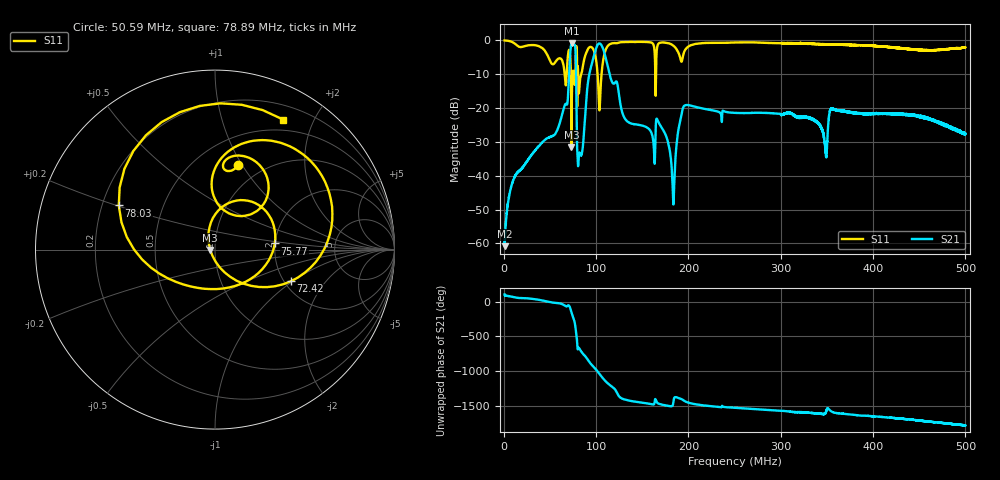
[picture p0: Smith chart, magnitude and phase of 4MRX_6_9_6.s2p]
! NanoVNA-App
! Date: 2026-08-19 15:09:41
! Start: 1MHz Stop: 500MHz Points: 6401
! S-Parameter data: F S11 S21 S12 S22
# Hz S RI R 50
!  Frequency  S11_Real  S11_Imag  S21_Real  S21_Imag  S12_Real  S12_Imag  S22_Real  S22_Imag
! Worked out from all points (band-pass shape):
!   6401 points, 1 MHz to 500 MHz, reference 50 ohm
!   highest |S21| = -0.81 dB at 73.59 MHz (marker M1); lowest = -60.8 dB at 1 MHz (marker M2)
!   |S21| within 3 dB of the highest: 72.1 MHz to 77.92 MHz (5.822 MHz wide, 7.76 % of centre); 98.46 MHz to 109.2 MHz (10.77 MHz wide, 10.4 % of centre)
!   lowest |S11| = -31.5 dB at 73.43 MHz (marker M3), VSWR 1.05, Z = 47.4 - j0.184 ohm
!   |S11| at or under -10 dB: 66.05 MHz to 68.21 MHz (2.16 MHz wide, 3.22 % of centre); 80.65 MHz to 84.03 MHz (3.388 MHz wide, 4.11 % of centre); 101.7 MHz to 106 MHz (4.296 MHz wide, 4.14 % of centre) (the widest 3 of 7)
!   S12 and S22 are empty: the file has one direction only
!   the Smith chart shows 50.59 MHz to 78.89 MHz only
!   S11 on the Smith chart (normalised r, x): 50.59 MHz: 0.78, +0.96; 72.42 MHz: 2.16, -0.97; 75.77 MHz: 1.99, +0.15; 78.03 MHz: 0.27, +0.20; 78.89 MHz: 0.36, +1.59
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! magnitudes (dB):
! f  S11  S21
! 1 MHz  0.0  -60.8
! 11.76 MHz  -0.9  -40.5
! 50.59 MHz  -6.3  -28.5
! 67.43 MHz  -13.2  -18.7
! 72.42 MHz  -6.8  -2.6
! 73.43 MHz  -31.5  -0.8
! 73.59 MHz  -22.7  -0.8
! 75.77 MHz  -9.5  -1.3
! 78.03 MHz  -4.6  -4.8
! 78.89 MHz  -1.7  -19.3
! 84.19 MHz  -9.9  -33.9
! 95.42 MHz  -2.1  -6.9
! 103.2 MHz  -18.5  -0.9
! 112.1 MHz  -1.9  -7.0
! 132.3 MHz  -0.5  -23.5
! 167.4 MHz  -1.0  -24.0
! 183.5 MHz  -1.5  -47.2
! 196 MHz  -3.1  -19.2
! 250.5 MHz  -0.6  -21.4
! 333.7 MHz  -1.1  -23.2
! 416.9 MHz  -1.9  -21.7
! 500 MHz  -2.0  -27.5
